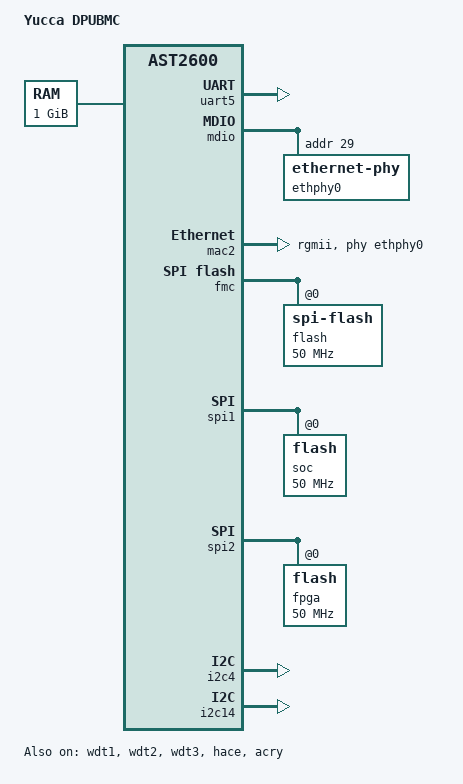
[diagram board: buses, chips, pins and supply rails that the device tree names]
// SPDX-License-Identifier: GPL-2.0+
// Copyright (c) 2022, Ampere Computing LLC
/dts-v1/;

#include "ast2600-u-boot.dtsi"

/ {
	model = "Yucca DPUBMC";
	compatible = "yage,dpu-bmc", "aspeed,ast2600";

	memory {
		device_type = "memory";
		reg = <0x80000000 0x40000000>;
	};

	chosen {
		stdout-path = &uart5;
	};

	aliases {
		spi0 = &fmc;
		ethernet0 = &mac0;
	};

	cpus {
		cpu@0 {
			clock-frequency = <800000000>;
		};
		cpu@1 {
			clock-frequency = <800000000>;
		};
	};
};

&uart5 {
	u-boot,dm-pre-reloc;
	status = "okay";
};

&sdrammc {
	clock-frequency = <400000000>;
};

&wdt1 {
	status = "okay";
};

&wdt2 {
	status = "okay";
};

&wdt3 {
	status = "okay";
};

&mdio {
	status = "okay";
	pinctrl-names = "default";
	pinctrl-0 = <5>;
	#address-cells = <1>;
	#size-cells = <0>;
	ethphy0: ethernet-phy@0 {
		reg = <29>;
	};
};

&mac2 {
	status = "okay";
	phy-mode = "rgmii";
	phy-handle = <&ethphy0>;
	pinctrl-names = "default";
	pinctrl-0 = <13>;
};

&fmc {
	status = "okay";

	pinctrl-names = "default";
	pinctrl-0 = <&pinctrl_fmcquad_default>;

	flash@0 {
		status = "okay";
		compatible = "spi-flash", "sst,w25q256";
		spi-rx-bus-width = <2>;
		spi-tx-bus-width = <2>;
		spi-max-frequency = <50000000>;
	};
};

&spi1 {
        status = "okay";
        pinctrl-names = "default";
        pinctrl-0 = <&pinctrl_spi1_default>;

        flash@0 {
                status = "okay";
                m25p,fast-read;
                label = "soc";
                spi-rx-bus-width = <2>;
                spi-tx-bus-width = <2>;
                spi-max-frequency = <50000000>;
        };
};

&spi2 {
        status = "okay";
        pinctrl-names = "default";
        pinctrl-0 = <&pinctrl_spi2_default>;

        flash@0 {
                status = "okay";
                m25p,fast-read;
                label = "fpga";
                spi-rx-bus-width = <2>;
                spi-tx-bus-width = <2>;
                spi-max-frequency = <50000000>;
        };
};

&scu {
	mac0-clk-delay = <0x10 0x0a
			  0x10 0x10
			  0x10 0x10>;
};

&hace {
	u-boot,dm-pre-reloc;
	status = "okay";
};

&acry {
	u-boot,dm-pre-reloc;
	status = "okay";
};

&i2c4 {
	status = "okay";
};

&i2c14 {
	status = "okay";
};
